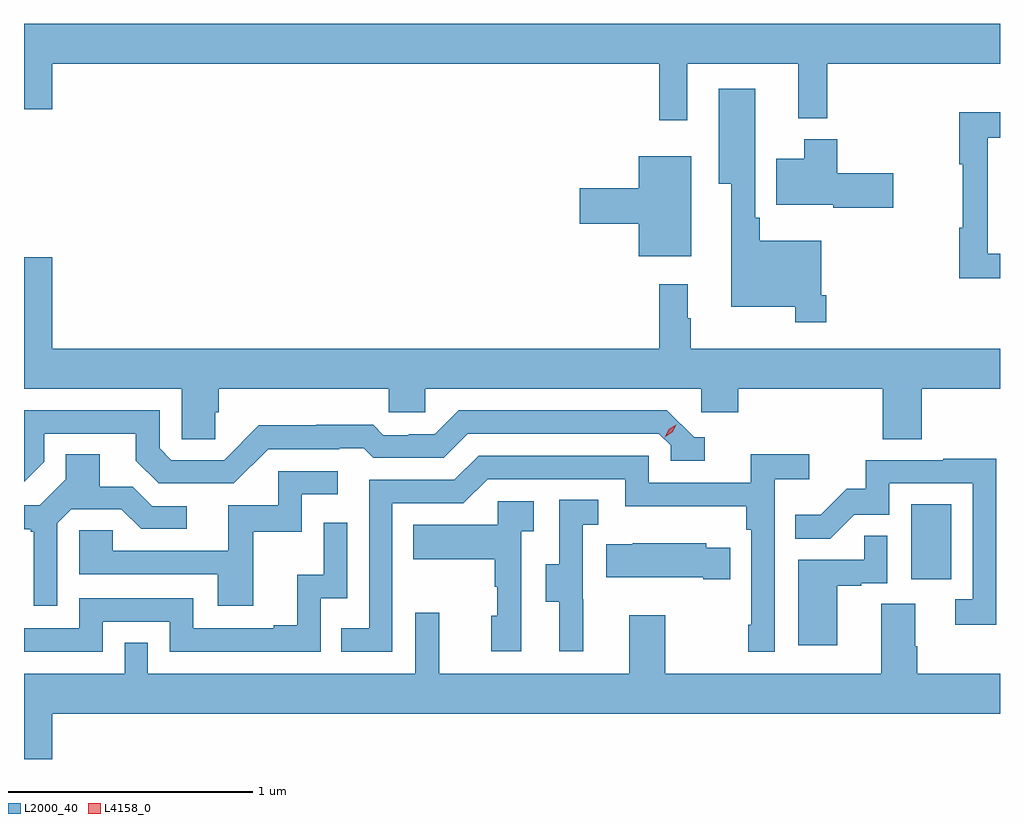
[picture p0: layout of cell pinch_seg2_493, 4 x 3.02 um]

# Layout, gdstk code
import gdstk
lib = gdstk.Library(unit=1e-6, precision=1e-09)
def R(c, l, rs):  # rectangles x0, y0, x1, y1
    for r in rs: c.add(gdstk.rectangle(r[:2], r[2:], *l))
def P(c, l, *ps):  # polygons
    for p in ps: c.add(gdstk.Polygon(p, *l))
L2000_40 = (2000, 40)
L4158_0 = (4158, 0)

pinch_seg2_493 = lib.new_cell('pinch_seg2_493')
R(pinch_seg2_493, L2000_40, [(983.876,593.574,984.04,593.881)])
P(pinch_seg2_493, L2000_40, [(982.959,595.688),(983.414,595.688),(983.414,595.463),(983.531,595.463),(983.531,595.688),(984.24,595.688),(984.24,595.852),(980.24,595.852),(980.24,595.5),(980.356,595.5),(980.356,595.688),(982.843,595.688),(982.843,595.455),(982.959,595.455)],
  [(983.528,594.739),(983.508,594.739),(983.508,594.961),(983.255,594.961),(983.255,595.057),(983.236,595.057),(983.236,595.585),(983.087,595.585),(983.087,595.196),(983.138,595.196),(983.138,594.692),(983.4,594.692),(983.4,594.627),(983.528,594.627)],
  [(984.24,594.909),(984.189,594.909),(984.189,595.383),(984.24,595.383),(984.24,595.489),(984.073,595.489),(984.073,595.276),(984.088,595.276),(984.088,595.016),(984.073,595.016),(984.073,594.808),(984.24,594.808)],
  [(983.803,595.239),(983.573,595.239),(983.573,595.378),(983.438,595.378),(983.438,595.297),(983.324,595.297),(983.324,595.109),(983.556,595.109),(983.556,595.097),(983.803,595.097)],
  [(982.975,595.309),(982.76,595.309),(982.76,595.178),(982.518,595.178),(982.518,595.031),(982.76,595.031),(982.76,594.899),(982.975,594.899)],
  [(981.023,594.258),(981.038,594.258),(981.038,594.356),(981.735,594.356),(981.735,594.258),(981.885,594.258),(981.885,594.356),(983.016,594.356),(983.016,594.258),(983.168,594.258),(983.168,594.356),(983.759,594.356),(983.759,594.148),(983.919,594.148),(983.919,594.356),(984.24,594.356),(984.24,594.52),(982.972,594.52),(982.972,594.644),(982.96,594.644),(982.96,594.784),(982.843,594.784),(982.843,594.52),(980.356,594.52),(980.356,594.895),(980.24,594.895),(980.24,594.356),(980.886,594.356),(980.886,594.148),(981.023,594.148)],
  [(981.24,594.108),(981.533,594.108),(981.533,594.111),(981.632,594.111),(981.671,594.072),(981.96,594.072),(982.059,594.171),(982.842,594.171),(982.89,594.123),(982.89,594.06),(983.029,594.06),(983.029,594.156),(982.986,594.156),(982.875,594.267),(982.022,594.267),(981.923,594.168),(981.816,594.168),(981.816,594.165),(981.713,594.165),(981.671,594.208),(981.438,594.208),(981.438,594.205),(981.202,594.205),(981.06,594.063),(980.844,594.063),(980.796,594.111),(980.796,594.267),(980.24,594.267),(980.24,593.975),(980.322,594.057),(980.322,594.171),(980.699,594.171),(980.699,594.061),(980.793,593.967),(981.099,593.967)],
  [(981.75,593.886),(982.041,593.886),(982.14,593.985),(982.704,593.985),(982.704,593.873),(983.2,593.873),(983.2,593.777),(983.22,593.777),(983.22,593.389),(983.208,593.389),(983.208,593.277),(983.316,593.277),(983.316,593.984),(983.458,593.984),(983.458,594.086),(983.219,594.086),(983.219,593.97),(982.8,593.97),(982.8,594.081),(982.103,594.081),(982.004,593.982),(981.654,593.982),(981.654,593.373),(981.541,593.373),(981.541,593.277),(981.75,593.277)],
  [(980.376,593.805),(980.433,593.862),(980.639,593.862),(980.72,593.781),(980.908,593.781),(980.908,593.874),(980.766,593.874),(980.686,593.954),(980.551,593.954),(980.551,594.086),(980.411,594.086),(980.411,593.984),(980.304,593.877),(980.24,593.877),(980.24,593.78),(980.268,593.78),(980.268,593.769),(980.279,593.769),(980.279,593.466),(980.376,593.466)],
  [(984.225,594.068),(984.007,594.068),(984.007,594.063),(983.689,594.063),(983.689,593.946),(983.612,593.946),(983.505,593.839),(983.401,593.839),(983.401,593.74),(983.545,593.74),(983.643,593.838),(983.787,593.838),(983.787,593.967),(984.129,593.967),(984.129,593.493),(984.057,593.493),(984.057,593.388),(984.225,593.388)],
  [(981.179,593.769),(981.378,593.769),(981.378,593.922),(981.526,593.922),(981.526,594.018),(981.282,594.018),(981.282,593.877),(981.077,593.877),(981.077,593.691),(980.603,593.691),(980.603,593.775),(980.466,593.775),(980.466,593.595),(981.035,593.595),(981.035,593.466),(981.179,593.466)],
  [(982.532,593.493),(982.53,593.493),(982.53,593.797),(982.594,593.797),(982.594,593.9),(982.434,593.9),(982.434,593.637),(982.379,593.637),(982.379,593.482),(982.433,593.482),(982.433,593.28),(982.532,593.28)],
  [(982.278,593.771),(982.33,593.771),(982.33,593.895),(982.182,593.895),(982.182,593.797),(981.835,593.797),(981.835,593.657),(982.17,593.657),(982.17,593.543),(982.18,593.543),(982.18,593.424),(982.154,593.424),(982.154,593.28),(982.278,593.28)],
  [(980.562,593.4),(980.838,593.4),(980.838,593.277),(981.456,593.277),(981.456,593.496),(981.564,593.496),(981.564,593.806),(981.468,593.806),(981.468,593.594),(981.359,593.594),(981.359,593.386),(981.263,593.386),(981.263,593.373),(980.934,593.373),(980.934,593.496),(980.466,593.496),(980.466,593.373),(980.24,593.373),(980.24,593.277),(980.562,593.277)],
  [(983.572,593.547),(983.672,593.547),(983.672,593.559),(983.778,593.559),(983.778,593.753),(983.683,593.753),(983.683,593.655),(983.414,593.655),(983.414,593.304),(983.572,593.304)],
  [(983.135,593.704),(983.037,593.704),(983.037,593.722),(982.735,593.722),(982.735,593.719),(982.627,593.719),(982.627,593.582),(983.024,593.582),(983.024,593.575),(983.135,593.575)],
  [(980.356,593.024),(984.24,593.024),(984.24,593.188),(983.901,593.188),(983.901,593.3),(983.893,593.3),(983.893,593.474),(983.753,593.474),(983.753,593.188),(982.869,593.188),(982.869,593.428),(982.721,593.428),(982.721,593.188),(981.941,593.188),(981.941,593.437),(981.843,593.437),(981.843,593.188),(980.748,593.188),(980.748,593.315),(980.652,593.315),(980.652,593.188),(980.24,593.188),(980.24,592.836),(980.356,592.836)])
P(pinch_seg2_493, L4158_0, [(982.866,594.157),(982.866,594.157),(982.883,594.189),(982.914,594.208),(982.914,594.208),(982.914,594.208),(982.897,594.176),(982.866,594.157)])

lib.write_gds('pinch_seg2_493.gds')
